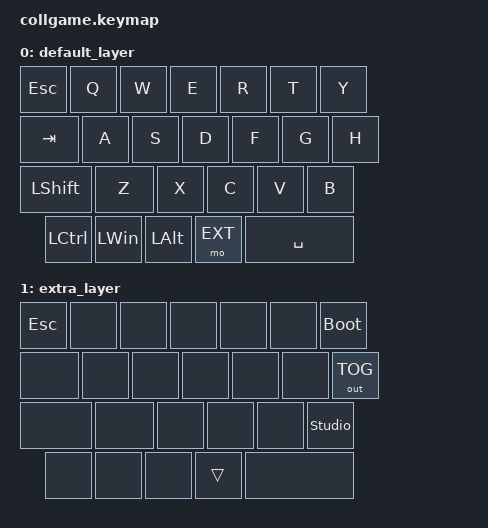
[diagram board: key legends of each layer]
#include <behaviors.dtsi>
#include <dt-bindings/zmk/keys.h>
#include <dt-bindings/zmk/bt.h>
#include <dt-bindings/zmk/outputs.h>

#define DEF 0
#define EXT 1



/ {  
    behaviors {
        
    };

    keymap {
        compatible = "zmk,keymap";

        default_layer {
            bindings = <
                &kp ESC     &kp Q        &kp W       &kp E       &kp R       &kp T       &kp Y
                &kp TAB     &kp A        &kp S       &kp D       &kp F       &kp G       &kp H
                &kp LSHIFT  &kp Z        &kp X       &kp C       &kp V       &kp B     
                &kp LCTRL   &kp LWIN     &kp LALT    &mo EXT     &kp SPACE
            >;
        }; 
        
        extra_layer {
            bindings = <
                &kp ESC     &none        &none       &none       &none       &none       &bootloader 
                &none       &none        &none       &none       &none       &none       &out OUT_TOG
                &none       &none        &none       &none       &none       &studio_unlock
                &none       &none        &none       &trans      &none
            >;
        }; 

    };
};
